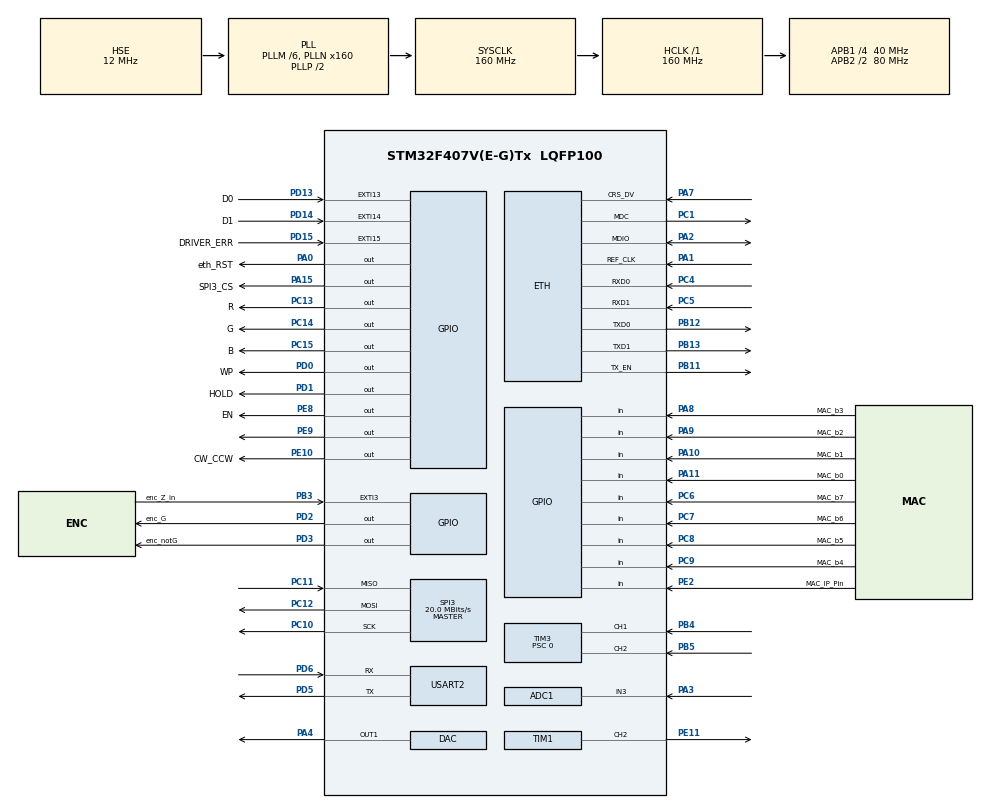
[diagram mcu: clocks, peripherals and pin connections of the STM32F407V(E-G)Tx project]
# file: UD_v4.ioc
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ADC1.Channel-0\#ChannelRegularConversion=ADC_CHANNEL_3
ADC1.NbrOfConversionFlag=1
ADC1.Rank-0\#ChannelRegularConversion=1
ADC1.SamplingTime-0\#ChannelRegularConversion=ADC_SAMPLETIME_3CYCLES
ADC1.master=1
Dma.Request0=USART2_TX
Dma.Request1=USART2_RX
Dma.USART2_RX.1.Direction=DMA_PERIPH_TO_MEMORY
Dma.USART2_RX.1.FIFOMode=DMA_FIFOMODE_DISABLE
Dma.USART2_RX.1.Instance=DMA1_Stream5
Dma.USART2_RX.1.MemDataAlignment=DMA_MDATAALIGN_BYTE
Dma.USART2_RX.1.MemInc=DMA_MINC_ENABLE
Dma.USART2_RX.1.Mode=DMA_CIRCULAR
Dma.USART2_RX.1.PeriphDataAlignment=DMA_PDATAALIGN_BYTE
Dma.USART2_RX.1.PeriphInc=DMA_PINC_DISABLE
Dma.USART2_RX.1.Priority=DMA_PRIORITY_MEDIUM
Dma.USART2_TX.0.Direction=DMA_MEMORY_TO_PERIPH
Dma.USART2_TX.0.FIFOMode=DMA_FIFOMODE_DISABLE
Dma.USART2_TX.0.Instance=DMA1_Stream6
Dma.USART2_TX.0.MemDataAlignment=DMA_MDATAALIGN_BYTE
Dma.USART2_TX.0.MemInc=DMA_MINC_ENABLE
Dma.USART2_TX.0.Mode=DMA_NORMAL
Dma.USART2_TX.0.PeriphDataAlignment=DMA_PDATAALIGN_BYTE
Dma.USART2_TX.0.PeriphInc=DMA_PINC_DISABLE
Dma.USART2_TX.0.Priority=DMA_PRIORITY_MEDIUM
ETH.MACAddr=44\:84\:23\:84\:44\:77
ETH.MediaInterface=HAL_ETH_RMII_MODE
ETH.PhyAddress=0
FREERTOS.Queues01=rxDataUART2,16,uint8_t,0,Dynamic,NULL,NULL
FREERTOS.Tasks01=mainTask,0,512,MainTask,Default,NULL,Dynamic,NULL,NULL;Motor_pool,0,256,motor_pool,Default,NULL,Dynamic,NULL,NULL;ledTask,0,512,LedTask,Default,NULL,Dynamic,NULL,NULL;callTask,0,256,CallTask,Default,NULL,Dynamic,NULL,NULL;uart_task,0,1024,uart_Task,Default,NULL,Dynamic,NULL,NULL;loggerTask,0,128,LoggerTask,Default,NULL,Dynamic,NULL,NULL
FREERTOS.configTOTAL_HEAP_SIZE=24576
FREERTOS.configUSE_NEWLIB_REENTRANT=1
LWIP.BSP.number=1
LWIP.LWIP_DHCP=0
LWIP.LWIP_DNS=1
LWIP.LWIP_NETIF_EXT_STATUS_CALLBACK=1
LWIP.LWIP_NETIF_STATUS_CALLBACK=1
LWIP.Version=v2.1.2_Cube
LWIP0.BSP.STBoard=false
LWIP0.BSP.api=BSP_COMPONENT_DRIVER
LWIP0.BSP.component=LAN8742
LWIP0.BSP.instance=LAN8742
LWIP0.BSP.name=Driver_PHY
LWIP0.BSP.semaphore=S_LAN8742
LWIP0.BSP.solution=LAN8742
Mcu.Family=STM32F4
Mcu.Name=STM32F407V(E-G)Tx
Mcu.Package=LQFP100
NVIC.DMA1_Stream5_IRQn=true\:5\:0\:false\:false\:true\:true\:false\:true\:true
NVIC.DMA1_Stream6_IRQn=true\:5\:0\:false\:false\:true\:true\:false\:true\:true
NVIC.ETH_IRQn=true\:5\:0\:false\:false\:true\:true\:false\:true\:true
NVIC.EXTI15_10_IRQn=true\:5\:0\:false\:false\:true\:true\:true\:true\:true
NVIC.EXTI3_IRQn=true\:5\:0\:false\:false\:true\:true\:true\:true\:true
NVIC.PriorityGroup=NVIC_PRIORITYGROUP_4
NVIC.TIM1_CC_IRQn=true\:5\:0\:false\:false\:true\:true\:true\:true\:true
NVIC.TIM1_UP_TIM10_IRQn=true\:5\:0\:false\:false\:true\:true\:true\:true\:true
NVIC.TIM3_IRQn=true\:5\:0\:false\:false\:true\:true\:true\:true\:true
NVIC.TIM4_IRQn=true\:5\:0\:false\:false\:true\:true\:true\:true\:true
NVIC.TIM6_DAC_IRQn=true\:5\:0\:false\:false\:true\:true\:true\:true\:true
NVIC.TIM7_IRQn=true\:15\:0\:false\:false\:true\:false\:false\:true\:true
NVIC.TimeBase=TIM7_IRQn
NVIC.TimeBaseIP=TIM7
NVIC.USART2_IRQn=true\:5\:0\:false\:false\:true\:true\:true\:true\:true
PA0-WKUP.GPIO_Label=eth_RST
PA0-WKUP.Signal=GPIO_Output
PA1.GPIO_PuPd=GPIO_NOPULL
PA1.Mode=RMII
PA1.Signal=ETH_REF_CLK
PA10.GPIO_Label=MAC_b1
PA10.GPIO_PuPd=GPIO_PULLDOWN
PA10.Signal=GPIO_Input
PA11.GPIO_Label=MAC_b0
PA11.GPIO_PuPd=GPIO_PULLDOWN
PA11.Signal=GPIO_Input
PA13.Mode=Serial_Wire
PA13.Signal=SYS_JTMS-SWDIO
PA14.Mode=Serial_Wire
PA14.Signal=SYS_JTCK-SWCLK
PA15.GPIO_Label=SPI3_CS
PA15.Signal=GPIO_Output
PA2.GPIO_PuPd=GPIO_NOPULL
PA2.Mode=RMII
PA2.Signal=ETH_MDIO
PA3.Signal=ADCx_IN3
PA4.Signal=COMP_DAC1_group
PA7.GPIO_PuPd=GPIO_NOPULL
PA7.Mode=RMII
PA7.Signal=ETH_CRS_DV
PA8.GPIO_Label=MAC_b3
PA8.GPIO_PuPd=GPIO_PULLDOWN
PA8.Signal=GPIO_Input
PA9.GPIO_Label=MAC_b2
PA9.GPIO_PuPd=GPIO_PULLDOWN
PA9.Signal=GPIO_Input
PB11.GPIO_PuPd=GPIO_NOPULL
PB11.Mode=RMII
PB11.Signal=ETH_TX_EN
PB12.GPIO_PuPd=GPIO_NOPULL
PB12.Mode=RMII
PB12.Signal=ETH_TXD0
PB13.GPIO_PuPd=GPIO_NOPULL
PB13.Mode=RMII
PB13.Signal=ETH_TXD1
PB3.GPIO_Label=enc_Z_in
PB3.Signal=GPXTI3
PB4.Signal=S_TIM3_CH1
PB5.Signal=S_TIM3_CH2
PC1.GPIO_PuPd=GPIO_NOPULL
PC1.Mode=RMII
PC1.Signal=ETH_MDC
PC10.Mode=Full_Duplex_Master
PC10.Signal=SPI3_SCK
PC11.Mode=Full_Duplex_Master
PC11.Signal=SPI3_MISO
PC12.Mode=Full_Duplex_Master
PC12.Signal=SPI3_MOSI
PC13-ANTI_TAMP.GPIO_Label=R
PC13-ANTI_TAMP.PinState=GPIO_PIN_SET
PC13-ANTI_TAMP.Signal=GPIO_Output
PC14-OSC32_IN.GPIO_Label=G
PC14-OSC32_IN.PinState=GPIO_PIN_SET
PC14-OSC32_IN.Signal=GPIO_Output
PC15-OSC32_OUT.GPIO_Label=B
PC15-OSC32_OUT.PinState=GPIO_PIN_SET
PC15-OSC32_OUT.Signal=GPIO_Output
PC4.GPIO_PuPd=GPIO_NOPULL
PC4.Mode=RMII
PC4.Signal=ETH_RXD0
PC5.GPIO_PuPd=GPIO_NOPULL
PC5.Mode=RMII
PC5.Signal=ETH_RXD1
PC6.GPIO_Label=MAC_b7
PC6.GPIO_PuPd=GPIO_PULLDOWN
PC6.Signal=GPIO_Input
PC7.GPIO_Label=MAC_b6
PC7.GPIO_PuPd=GPIO_PULLDOWN
PC7.Signal=GPIO_Input
PC8.GPIO_Label=MAC_b5
PC8.GPIO_PuPd=GPIO_PULLDOWN
PC8.Signal=GPIO_Input
PC9.GPIO_Label=MAC_b4
PC9.GPIO_PuPd=GPIO_PULLDOWN
PC9.Signal=GPIO_Input
PD0.GPIO_Label=WP
PD0.Signal=GPIO_Output
PD1.GPIO_Label=HOLD
PD1.Signal=GPIO_Output
PD13.GPIO_Label=D0
PD13.GPIO_ModeDefaultEXTI=GPIO_MODE_IT_RISING
PD13.GPIO_PuPd=GPIO_PULLDOWN
PD13.Signal=GPXTI13
PD14.GPIO_Label=D1
PD14.GPIO_ModeDefaultEXTI=GPIO_MODE_IT_RISING
PD14.GPIO_PuPd=GPIO_PULLDOWN
PD14.Signal=GPXTI14
PD15.GPIO_Label=DRIVER_ERR
PD15.GPIO_ModeDefaultEXTI=GPIO_MODE_IT_RISING
PD15.GPIO_PuPd=GPIO_PULLDOWN
PD15.Signal=GPXTI15
PD2.GPIO_Label=enc_G
PD2.GPIO_ModeDefaultOutputPP=GPIO_MODE_OUTPUT_PP
PD2.GPIO_PuPd=GPIO_NOPULL
PD2.GPIO_Speed=GPIO_SPEED_FREQ_LOW
PD2.PinState=GPIO_PIN_RESET
PD2.Signal=GPIO_Output
PD3.GPIO_Label=enc_notG
PD3.GPIO_ModeDefaultOutputPP=GPIO_MODE_OUTPUT_PP
PD3.GPIO_PuPd=GPIO_NOPULL
PD3.GPIO_Speed=GPIO_SPEED_FREQ_LOW
PD3.PinState=GPIO_PIN_RESET
PD3.Signal=GPIO_Output
PD5.Mode=Asynchronous
PD5.Signal=USART2_TX
PD6.Mode=Asynchronous
PD6.Signal=USART2_RX
PE10.GPIO_Label=CW_CCW
PE10.Signal=GPIO_Output
PE11.GPIO_Speed=GPIO_SPEED_FREQ_HIGH
PE11.Signal=S_TIM1_CH2
PE2.GPIO_Label=MAC_IP_Pin
PE2.GPIO_PuPd=GPIO_PULLDOWN
PE2.Signal=GPIO_Input
PE8.GPIO_Label=EN
PE8.Signal=GPIO_Output
PE9.Signal=GPIO_Output
PH0-OSC_IN.Mode=HSE-External-Oscillator
PH0-OSC_IN.Signal=RCC_OSC_IN
PH1-OSC_OUT.Mode=HSE-External-Oscillator
PH1-OSC_OUT.Signal=RCC_OSC_OUT
ProjectManager.HeapSize=0x4000
ProjectManager.StackSize=0x4000
ProjectManager.TargetToolchain=STM32CubeIDE
RCC.48MHZClocksFreq_Value=80000000
RCC.AHBFreq_Value=160000000
RCC.APB1CLKDivider=RCC_HCLK_DIV4
RCC.APB1Freq_Value=40000000
RCC.APB1TimFreq_Value=80000000
RCC.APB2CLKDivider=RCC_HCLK_DIV2
RCC.APB2Freq_Value=80000000
RCC.APB2TimFreq_Value=160000000
RCC.CortexFreq_Value=160000000
RCC.HCLKFreq_Value=160000000
RCC.HSE_VALUE=12000000
RCC.HSI_VALUE=16000000
RCC.LSE_VALUE=32768
RCC.PLLM=6
RCC.PLLN=160
RCC.PLLSourceVirtual=RCC_PLLSOURCE_HSE
RCC.SYSCLKFreq_VALUE=160000000
RCC.SYSCLKSource=RCC_SYSCLKSOURCE_PLLCLK
RCC.VCOOutputFreq_Value=320000000
SH.ADCx_IN3.0=ADC1_IN3,IN3
SH.COMP_DAC1_group.0=DAC_OUT1,DAC_OUT1
SH.S_TIM1_CH2.0=TIM1_CH2,PWM Generation2 CH2
SH.S_TIM3_CH1.0=TIM3_CH1,Encoder_Interface
SH.S_TIM3_CH2.0=TIM3_CH2,Encoder_Interface
SPI3.CalculateBaudRate=20.0 MBits/s
SPI3.Direction=SPI_DIRECTION_2LINES
SPI3.Mode=SPI_MODE_MASTER
SPI3.VirtualType=VM_MASTER
TIM1.AutoReloadPreload=TIM_AUTORELOAD_PRELOAD_ENABLE
TIM1.Channel-PWM\ Generation2\ CH2=TIM_CHANNEL_2
TIM1.Period=10000
TIM1.Prescaler=7
TIM1.TIM_MasterOutputTrigger=TIM_TRGO_UPDATE
TIM3.AutoReloadPreload=TIM_AUTORELOAD_PRELOAD_ENABLE
TIM3.Channel-Output\ Compare3\ No\ Output=TIM_CHANNEL_3
TIM3.Channel-Output\ Compare4\ No\ Output=TIM_CHANNEL_4
TIM3.ClockDivision=TIM_CLOCKDIVISION_DIV1
TIM3.CounterMode=TIM_COUNTERMODE_UP
TIM3.EncoderMode=TIM_ENCODERMODE_TI1
TIM3.IC1Filter=7
TIM3.IC1Prescaler=TIM_ICPSC_DIV1
TIM3.IC2Filter=7
TIM3.IC2Prescaler=TIM_ICPSC_DIV1
TIM3.OCMode_3=TIM_OCMODE_TIMING
TIM3.Period=65535
TIM3.Prescaler=0
TIM4.AutoReloadPreload=TIM_AUTORELOAD_PRELOAD_DISABLE
TIM4.Channel-Output\ Compare1\ No\ Output=TIM_CHANNEL_1
TIM4.Channel-Output\ Compare2\ No\ Output=TIM_CHANNEL_2
TIM4.Period=1000
TIM4.Prescaler=0
TIM6.AutoReloadPreload=TIM_AUTORELOAD_PRELOAD_ENABLE
TIM6.Period=100-1
TIM6.Prescaler=80-1
TIM6.TIM_MasterOutputTrigger=TIM_TRGO_RESET
USART2.VirtualMode=VM_ASYNC
VP_FREERTOS_VS_CMSIS_V1.Mode=CMSIS_V1
VP_LWIP_VS_Enabled.Mode=Enabled
VP_SYS_VS_tim7.Mode=TIM7
VP_TIM1_VS_ClockSourceINT.Mode=Internal
VP_TIM3_VS_no_output3.Mode=Output Compare3 No Output
VP_TIM3_VS_no_output4.Mode=Output Compare4 No Output
VP_TIM4_VS_ClockSourceITR.Mode=TriggerSource_ITR0
VP_TIM4_VS_ControllerModeClock.Mode=Clock Mode
VP_TIM4_VS_no_output1.Mode=Output Compare1 No Output
VP_TIM4_VS_no_output2.Mode=Output Compare2 No Output
VP_TIM6_VS_ClockSourceINT.Mode=Enable_Timer
VP_TIM6_VS_OPM.Mode=OPM_bit
board=custom

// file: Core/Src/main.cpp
/* USER CODE BEGIN Header */
/**
 ******************************************************************************
 * @file           : main.c
 * @brief          : Main program body
 ******************************************************************************
 * @attention
 *
 * Copyright (c) 2022 STMicroelectronics.
 * All rights reserved.
 *
 * This software is licensed under terms that can be found in the LICENSE file
 * in the root directory of this software component.
 * If no LICENSE file comes with this software, it is provided AS-IS.
 *
 ******************************************************************************
 */
/* USER CODE END Header */
#include "main.h"
#include "cmsis_os.h"
#include "adc.h"
#include "dac.h"
#include "dma.h"
#include "lwip.h"
#include "spi.h"
#include "tim.h"
#include "usart.h"
#include "gpio.h"

/* USER CODE BEGIN Includes */
#include "flash_spi.h"
#include "Delay_us_DWT.h"
#include "LED.h"
#include "stdio.h"
#include "externDriver.hpp"
/* USER CODE END Includes */

/* USER CODE BEGIN PV */
uint8_t ucHeap[ configTOTAL_HEAP_SIZE ] __attribute__((section(".ccmram"))) = {0};
uint32_t count_tic = 0; //для замеров времени выполнения кода
extern TIM_HandleTypeDef htim3;
//TIM_HandleTypeDef no;
settings_t settings = {dir::CW, 1, 1};

extern_driver *pMotor;
extern_driver ext_drive(&settings, &htim4, &htim1, TIM_CHANNEL_2, &htim6, &htim3);
led LED_IPadr;
led LED_error;
led LED_OSstart;

flash mem_spi;
pins_spi_t ChipSelect = {SPI3_CS_GPIO_Port, SPI3_CS_Pin};
pins_spi_t WriteProtect = {WP_GPIO_Port, WP_Pin};
pins_spi_t Hold = {HOLD_GPIO_Port, HOLD_Pin};
bool resetSettings = false;

// Глобальный экземпляр логгера
UartLogger_t logger;

// Локальный буфер для DMA передачи
char txBuffer[MAX_MESSAGE_SIZE];
// Пул сообщений и буфер для него
LogMessage_t messagePool[QUEUE_SIZE];
uint8_t messagePoolUsed[QUEUE_SIZE];
osMutexId poolMutexHandle;

uint8_t message_rx[message_RX_LENGTH];
uint8_t UART2_rx[UART2_RX_LENGTH];
uint16_t indx_message_rx = 0;
uint16_t indx_UART2_rx = 0;
uint16_t Size_message = 0;
uint16_t Start_index = 0;
extern osMessageQId rxDataUART2Handle;
/* USER CODE END PV */

void SystemClock_Config(void);
void MX_FREERTOS_Init(void);
/* USER CODE BEGIN PFP */
uint8_t ReadStraps();
void finishedBlink();
void timoutBlink();

#ifdef __GNUC__
#define PUTCHAR_PROTOTYPE extern "C" int __io_putchar(int ch)
#else
#define PUTCHAR_PROTOTYPE int fputc(int ch, FILE *f)
#endif

/* USER CODE END PFP */

int main(void)
{

  /* MCU Configuration--------------------------------------------------------*/

  /* Reset of all peripherals, Initializes the Flash interface and the Systick. */
  HAL_Init();

  /* Configure the system clock */
  SystemClock_Config();

  /* Initialize all configured peripherals */
  MX_GPIO_Init();
  MX_DMA_Init();
  MX_ADC1_Init();
  MX_SPI3_Init();
  MX_TIM1_Init();
  MX_TIM3_Init();
  MX_TIM6_Init();
  MX_DAC_Init();
  MX_TIM4_Init();
  MX_USART2_UART_Init();
  /* USER CODE BEGIN 2 */

	//DWT_Init();
	uint8_t endMAC = 0, IP = 100;

	HAL_GPIO_WritePin(eth_RST_GPIO_Port, eth_RST_Pin, GPIO_PIN_RESET);
	HAL_Delay(300);
	HAL_GPIO_WritePin(eth_RST_GPIO_Port, eth_RST_Pin, GPIO_PIN_SET);

	HAL_GPIO_WritePin(HOLD_GPIO_Port, HOLD_Pin, GPIO_PIN_SET);
	HAL_GPIO_WritePin(WP_GPIO_Port, WP_Pin, GPIO_PIN_SET);

	pMotor = &ext_drive;

	mem_spi.Init(&hspi3, 0, ChipSelect, WriteProtect, Hold, false);
	//HAL_Delay(100);
	mem_spi.Read(&settings);

	// если установлен джампер set
	// заходим в режим настройки
	bool StartSettings = false;
	/*
	for (int var = 0; var < 5; ++var) {

		if(HAL_GPIO_ReadPin(MAC_IP_Pin_GPIO_Port, MAC_IP_Pin_Pin)){
			StartSettings = true;
		}else{
			StartSettings = false;
			break;
		}

		HAL_Delay(30);
	}*/

	//режим настройки
	if(StartSettings){
		StartSettings = false;
		HAL_GPIO_WritePin(G_GPIO_Port, G_Pin, GPIO_PIN_RESET); // PC14 VD3

		endMAC = ReadStraps();
		HAL_Delay(300);
		HAL_GPIO_WritePin(R_GPIO_Port, R_Pin, GPIO_PIN_RESET); // PC13 VD2

		// ждем снятия джампера или таймаута
		int time;
		bool Settings;
		for (time = 0; time < 600; ++time) {

			if(HAL_GPIO_ReadPin(MAC_IP_Pin_GPIO_Port, MAC_IP_Pin_Pin)){
				Settings = true;
			}else{
				Settings = false;
				break;
			}

			HAL_Delay(100);
		}

		if(!Settings){ // if pin settings is 0
			IP = ReadStraps();
			HAL_Delay(300);
			HAL_GPIO_WritePin(B_GPIO_Port, B_Pin, GPIO_PIN_RESET); // PC15 VD4

			if((settings.version != 0) || (settings.version != 0xFF)){ // если считанные настройки не пусты то перезаписываем только изменения

				if(endMAC != 0xFF){
					settings.MAC[5] = endMAC;
				}

				if(IP != 0xFF){
					settings.saveIP.ip[3] = IP;
				}

				mem_spi.W25qxx_EraseSector(0);
				mem_spi.Write(settings);
				mem_spi.Read(&settings);

				finishedBlink();

				// and reset system
				HAL_Delay(500);
				NVIC_SystemReset();
			}else{
				resetSettings = true; // else reset all settings
			}
		}else{

			timoutBlink();
			// and reset system
			HAL_Delay(1000);
			NVIC_SystemReset();
		}

	}
	if((settings.version == 0) || (settings.version == 0xFF) || resetSettings || settings.version != CURENT_VERSION)
	{
		//STM_LOG("Start reset settings");
		resetSettings = false;

		settings.Direct = dir::CW;
		settings.mod_rotation = mode_rotation_t::step_inf;
		settings.res2 = motor_t::stepper_motor;
		settings.Speed = 100;
		settings.StartSpeed = 100;
		settings.Accel = 500;
		settings.Slowdown = 200; // чем больше число тем медленне ускорение
		//settings.SlowdownDistancePer = 10.0; //10%
		settings.res = 0;
		settings.TimeOut = 60000;
		settings.DHCPset = true;

		settings.saveIP.ip[0] = 192;
		settings.saveIP.ip[1] = 168;
		settings.saveIP.ip[2] = 1;
		settings.saveIP.ip[3] = IP;

		settings.saveIP.mask[0] = 255;
		settings.saveIP.mask[1] = 255;
		settings.saveIP.mask[2] = 255;
		settings.saveIP.mask[3] = 0;

		settings.saveIP.gateway[0] = 192;
		settings.saveIP.gateway[1] = 168;
		settings.saveIP.gateway[2] = 1;
		settings.saveIP.gateway[3] = 1;

		settings.MAC[0] = 0x44;
		settings.MAC[1] = 0x84;
		settings.MAC[2] = 0x23;
		settings.MAC[3] = 0x84;
		settings.MAC[4] = 0x44;
		settings.MAC[5] = endMAC;

		settings.sensors_map.CW_sensor = 0;
		settings.sensors_map.CCW_sensor = 0;
		settings.sensors_map.detected = false;

		settings.version = CURENT_VERSION;

		mem_spi.W25qxx_EraseSector(0);
		mem_spi.Write(settings);
		mem_spi.Read(&settings);
	}
	//HAL_Delay(500);
	mem_spi.SetUsedInOS(true); // switch to use in OS
  /* USER CODE END 2 */

  /* Call init function for freertos objects (in cmsis_os2.c) */
  MX_FREERTOS_Init();

  /* Start scheduler */
  osKernelStart();

  /* We should never get here as control is now taken by the scheduler */

  /* Infinite loop */
	while (1)
	{

	}
}

void SystemClock_Config(void)
{
  RCC_OscInitTypeDef RCC_OscInitStruct = {0};
  RCC_ClkInitTypeDef RCC_ClkInitStruct = {0};

  /** Configure the main internal regulator output voltage
  */
  __HAL_RCC_PWR_CLK_ENABLE();
  __HAL_PWR_VOLTAGESCALING_CONFIG(PWR_REGULATOR_VOLTAGE_SCALE1);

  /** Initializes the RCC Oscillators according to the specified parameters
  * in the RCC_OscInitTypeDef structure.
  */
  RCC_OscInitStruct.OscillatorType = RCC_OSCILLATORTYPE_HSE;
  RCC_OscInitStruct.HSEState = RCC_HSE_ON;
  RCC_OscInitStruct.PLL.PLLState = RCC_PLL_ON;
  RCC_OscInitStruct.PLL.PLLSource = RCC_PLLSOURCE_HSE;
  RCC_OscInitStruct.PLL.PLLM = 6;
  RCC_OscInitStruct.PLL.PLLN = 160;
  RCC_OscInitStruct.PLL.PLLP = RCC_PLLP_DIV2;
  RCC_OscInitStruct.PLL.PLLQ = 4;
  if (HAL_RCC_OscConfig(&RCC_OscInitStruct) != HAL_OK)
  {
    Error_Handler();
  }

  /** Initializes the CPU, AHB and APB buses clocks
  */
  RCC_ClkInitStruct.ClockType = RCC_CLOCKTYPE_HCLK|RCC_CLOCKTYPE_SYSCLK
                              |RCC_CLOCKTYPE_PCLK1|RCC_CLOCKTYPE_PCLK2;
  RCC_ClkInitStruct.SYSCLKSource = RCC_SYSCLKSOURCE_PLLCLK;
  RCC_ClkInitStruct.AHBCLKDivider = RCC_SYSCLK_DIV1;
  RCC_ClkInitStruct.APB1CLKDivider = RCC_HCLK_DIV4;
  RCC_ClkInitStruct.APB2CLKDivider = RCC_HCLK_DIV2;

  if (HAL_RCC_ClockConfig(&RCC_ClkInitStruct, FLASH_LATENCY_5) != HAL_OK)
  {
    Error_Handler();
  }
}

/* USER CODE BEGIN 4 */
PUTCHAR_PROTOTYPE
{
  HAL_UART_Transmit(&huart2, (uint8_t *)&ch, 1, HAL_MAX_DELAY);
  return ch;
}

uint8_t ReadStraps(){
	uint8_t tempStraps;

	//Bit0
	if (HAL_GPIO_ReadPin(MAC_b0_GPIO_Port, MAC_b0_Pin)) SET_BIT(tempStraps,1<<0);
	else CLEAR_BIT(tempStraps,1<<0);
	//Bit1
	if (HAL_GPIO_ReadPin(MAC_b1_GPIO_Port, MAC_b1_Pin)) SET_BIT(tempStraps,1<<1);
	else CLEAR_BIT(tempStraps,1<<1);
	//Bit2
	if (HAL_GPIO_ReadPin(MAC_b2_GPIO_Port, MAC_b2_Pin)) SET_BIT(tempStraps,1<<2);
	else CLEAR_BIT(tempStraps,1<<2);
	//Bit3
	if (HAL_GPIO_ReadPin(MAC_b3_GPIO_Port, MAC_b3_Pin)) SET_BIT(tempStraps,1<<3);
	else CLEAR_BIT(tempStraps,1<<3);
	//Bit4
	if (HAL_GPIO_ReadPin(MAC_b4_GPIO_Port, MAC_b4_Pin)) SET_BIT(tempStraps,1<<4);
	else CLEAR_BIT(tempStraps,1<<4);
	//Bit5
	if (HAL_GPIO_ReadPin(MAC_b5_GPIO_Port, MAC_b5_Pin)) SET_BIT(tempStraps,1<<5);
	else CLEAR_BIT(tempStraps,1<<5);
	//Bit6
	if (HAL_GPIO_ReadPin(MAC_b6_GPIO_Port, MAC_b6_Pin)) SET_BIT(tempStraps,1<<6);
	else CLEAR_BIT(tempStraps,1<<6);
	//Bit7
	if (HAL_GPIO_ReadPin(MAC_b7_GPIO_Port, MAC_b7_Pin)) SET_BIT(tempStraps,1<<7);
	else CLEAR_BIT(tempStraps,1<<7);

	return tempStraps;
}

void finishedBlink(){
#define  timeBetween 300

	// finished blink
	HAL_GPIO_WritePin(B_GPIO_Port, B_Pin, GPIO_PIN_SET); // PC15 VD4
	HAL_GPIO_WritePin(R_GPIO_Port, R_Pin, GPIO_PIN_SET); // PC13 VD2
	HAL_GPIO_WritePin(G_GPIO_Port, G_Pin, GPIO_PIN_SET); // PC14 VD3

	for (int var = 0; var < 5; ++var) {
		HAL_GPIO_WritePin(G_GPIO_Port, G_Pin, GPIO_PIN_RESET); // PC14 VD3
		HAL_Delay(timeBetween);
		HAL_GPIO_WritePin(G_GPIO_Port, G_Pin, GPIO_PIN_SET); // PC14 VD3
		HAL_GPIO_WritePin(R_GPIO_Port, R_Pin, GPIO_PIN_RESET); // PC13 VD2
		HAL_Delay(timeBetween);
		HAL_GPIO_WritePin(R_GPIO_Port, R_Pin, GPIO_PIN_SET); // PC13 VD2
		HAL_GPIO_WritePin(B_GPIO_Port, B_Pin, GPIO_PIN_RESET); // PC15 VD4
		HAL_Delay(timeBetween);
		HAL_GPIO_WritePin(B_GPIO_Port, B_Pin, GPIO_PIN_SET); // PC15 VD4

	}

	HAL_GPIO_WritePin(B_GPIO_Port, B_Pin, GPIO_PIN_SET); // PC15 VD4
	HAL_GPIO_WritePin(R_GPIO_Port, R_Pin, GPIO_PIN_SET); // PC13 VD2
	HAL_GPIO_WritePin(G_GPIO_Port, G_Pin, GPIO_PIN_SET); // PC14 VD3
}

void timoutBlink(){
	// timOut plink  all
	HAL_GPIO_WritePin(B_GPIO_Port, B_Pin, GPIO_PIN_RESET); // PC15 VD4
	HAL_GPIO_WritePin(R_GPIO_Port, R_Pin, GPIO_PIN_RESET); // PC13 VD2
	HAL_GPIO_WritePin(G_GPIO_Port, G_Pin, GPIO_PIN_RESET); // PC14 VD3
	for (int var = 0; var < 5; ++var) {
		HAL_GPIO_TogglePin(B_GPIO_Port, B_Pin); // PC15 VD4
		HAL_GPIO_TogglePin(R_GPIO_Port, R_Pin); // PC13 VD2
		HAL_GPIO_TogglePin(G_GPIO_Port, G_Pin); // PC14 VD3
		HAL_Delay(800);
	}
}

// Проверка вызова из прерывания
static uint8_t isInInterrupt(void) {
    return (SCB->ICSR & SCB_ICSR_VECTACTIVE_Msk) != 0;
}

// Получить свободный слот из пула
static int getFreeMessageSlot(void) {
    for(int i = 0; i < QUEUE_SIZE; i++) {
        if(messagePoolUsed[i] == 0) {
            messagePoolUsed[i] = 1;
            return i;
        }
    }
    return -1;
}

// инициализация логгера
void Logger_Init(UART_HandleTypeDef* huart) {
    // Сохраняем указатель на UART
    logger.huart = huart;
    logger.isTransmitting = 0;
    logger.txBuffer = txBuffer;
    logger.started = 1;

    // Очищаем пул сообщений
    memset(messagePoolUsed, 0, sizeof(messagePoolUsed));

    // Создаем мьютекс для пула
    osMutexDef(poolMutex);
    poolMutexHandle = osMutexCreate(osMutex(poolMutex));

    // Создаем очередь сообщений (теперь храним только индексы)
    osMessageQDef(logQueue, QUEUE_SIZE, uint32_t);
    logger.messageQueue = osMessageCreate(osMessageQ(logQueue), NULL);
}

// Обработка сообщений и отправка через UART
void Logger_Process(void) {
    if (!logger.isTransmitting) {
        osEvent event = osMessageGet(logger.messageQueue, 0); // Неблокирующее получение

        if (event.status == osEventMessage) {
            uint32_t msgIndex = event.value.v;
            if(msgIndex < QUEUE_SIZE) {
                LogMessage_t* msg = &messagePool[msgIndex];

                // Проверка валидности сообщения
                if(msg->length > 0 && msg->length < MAX_MESSAGE_SIZE) {
                    // Копируем сообщение в буфер отправки
                    memcpy(logger.txBuffer, msg->data, msg->length);

                    // Освобождаем слот в пуле
                    uint32_t primask_bit;
                    primask_bit = __get_PRIMASK();
                    __disable_irq();
                    messagePoolUsed[msgIndex] = 0;
                    if (!primask_bit) {
                        __enable_irq();
                    }

                    // Начинаем передачу
                    logger.isTransmitting = 1;

                    // Проверяем состояние DMA перед отправкой
                    if(huart2.hdmatx->State == HAL_DMA_STATE_READY) {
                        HAL_StatusTypeDef status = HAL_UART_Transmit_DMA(logger.huart, (uint8_t*)logger.txBuffer, msg->length);
                        if(status != HAL_OK) {
                            // Если DMA не готов, используем обычную передачу
                            HAL_UART_Transmit(logger.huart, (uint8_t*)logger.txBuffer, msg->length, 100);
                            logger.isTransmitting = 0;
                        }
                    } else {
                        // DMA занят, используем обычную передачу
                        HAL_UART_Transmit(logger.huart, (uint8_t*)logger.txBuffer, msg->length, 100);
                        logger.isTransmitting = 0;
                    }
                } else {
                    // Некорректный размер сообщения - просто освобождаем слот
                    uint32_t primask_bit;
                    primask_bit = __get_PRIMASK();
                    __disable_irq();
                    messagePoolUsed[msgIndex] = 0;
                    if (!primask_bit) {
                        __enable_irq();
                    }
                }
            }
        }
    }
}

// Callback завершения передачи
void Logger_TxCpltCallback(void) {
    logger.isTransmitting = 0;
}

// Функция логирования (может вызываться из прерывания или потока)
void Logger_Log(const char* format, ...) {
    if(!logger.started) return;
    if (!format) return;

    int slot = -1;

    // Безопасное получение слота с учетом контекста (прерывание или нет)
    if(isInInterrupt()) {
        // В прерывании - атомарно захватываем слот
        // Используем атомарный подход без мьютекса (мьютексы недопустимы в прерываниях)
        for(int i = 0; i < QUEUE_SIZE; i++) {
            if(messagePoolUsed[i] == 0) {
                // Попытка атомарно захватить слот
                uint32_t primask_bit;
                primask_bit = __get_PRIMASK();
                __disable_irq();
                if(messagePoolUsed[i] == 0) {
                    messagePoolUsed[i] = 1;
                    slot = i;
                }
                if (!primask_bit) {
                    __enable_irq();
                }
                if(slot >= 0) break;
            }
        }
    } else {
        // В обычном коде используем мьютекс
        osMutexWait(poolMutexHandle, osWaitForever);
        slot = getFreeMessageSlot();
        osMutexRelease(poolMutexHandle);
    }

    if(slot < 0) return; // Нет свободных слотов

    LogMessage_t* msg = &messagePool[slot];
    va_list args;

    va_start(args, format);
    int length = vsnprintf(msg->data, MAX_MESSAGE_SIZE - 2, format, args);
    va_end(args);

    if (length <= 0) {
        // Атомарное освобождение слота
        uint32_t primask_bit;
        primask_bit = __get_PRIMASK();
        __disable_irq();
        messagePoolUsed[slot] = 0;
        if (!primask_bit) {
            __enable_irq();
        }
        return;
    }

    // Добавляем '\r' и нулевой символ
    msg->data[length] = '\r';
    msg->data[length + 1] = 0;
    msg->length = length + 1;

    // Помещаем индекс сообщения в очередь
    osStatus status = osMessagePut(logger.messageQueue, slot, 0);
    if(status != osOK) {
        // Атомарное освобождение слота при ошибке
        uint32_t primask_bit;
        primask_bit = __get_PRIMASK();
        __disable_irq();
        messagePoolUsed[slot] = 0;
        if (!primask_bit) {
            __enable_irq();
        }
    }
}

// Обработчик прерывания DMA UART
void HAL_UART_TxCpltCallback(UART_HandleTypeDef *huart) {
    if (huart == logger.huart) {
        Logger_TxCpltCallback();
    }
}

void HAL_TIM_OC_DelayElapsedCallback(TIM_HandleTypeDef *htim){
    if(htim->Instance == TIM3)
    {
    	switch (settings.mod_rotation) {
    		case step_by_meter_enc_intermediate:
    		case calibration_enc:
    		{
				switch(htim->Channel)
						{
							case HAL_TIM_ACTIVE_CHANNEL_1:
								// канал торможения
								//pMotor->StepsAllHandler(__HAL_TIM_GET_COUNTER(htim));
								break;

							case HAL_TIM_ACTIVE_CHANNEL_2:
								//канал остановки

								// Прерывание от канала 2
								break;

		                    case HAL_TIM_ACTIVE_CHANNEL_3:
		                        // Событие канала 3 - начало торможения
		                        pMotor->handleEncoderCompare(TIM_CHANNEL_3);
		                        break;

		                    case HAL_TIM_ACTIVE_CHANNEL_4:
		                        // Событие канала 4 - завершение части или остановка
		                        pMotor->handleEncoderCompare(TIM_CHANNEL_4);
		                        break;

							case HAL_TIM_ACTIVE_CHANNEL_CLEARED:
								// Нет активного канала
								break;

							default:
								// Неизвестный канал
								break;
						}
    			break;
    		}
    		case step_by_meter_timer_intermediate:
    		//case step_by_meter_timer_limit:
    		case calibration_timer:
    		case bldc_limit:
    		case step_inf:
    		case bldc_inf:
    		{
    			return;
    			break;
    		}
    		default:
    		{
    			break;
    		}
    	}

    }

    if(htim->Instance == TIM4)
    {
    	switch (settings.mod_rotation) {
    		case step_by_meter_timer_intermediate:
    		//case step_by_meter_timer_limit:
    		case calibration_timer:
    		{
    	        switch(htim->Channel)
    	                {
    	                    case HAL_TIM_ACTIVE_CHANNEL_1:
    	                        // Вызываем обработчик для канала 1 (начало торможения)
    	                        pMotor->handleTimerCompare(TIM_CHANNEL_1);
    	                        break;

    	                    case HAL_TIM_ACTIVE_CHANNEL_2:
    	                        // Вызываем обработчик для канала 2 (остановка или конец части)
    	                        pMotor->handleTimerCompare(TIM_CHANNEL_2);
    	                        break;

    	                    case HAL_TIM_ACTIVE_CHANNEL_3:
    	                        // Прерывание от канала 3
    	                        break;

    	                    case HAL_TIM_ACTIVE_CHANNEL_4:
    	                        // Прерывание от канала 4
    	                        break;

    	                    case HAL_TIM_ACTIVE_CHANNEL_CLEARED:
    	                        // Нет активного канала
    	                        break;

    	                    default:
    	                        // Неизвестный канал
    	                        break;
    	                }
    			break;
    		}
    		case step_by_meter_enc_intermediate:
    		//case step_by_meter_enc_limit:
    		case calibration_enc:
    		case bldc_limit:
    		case step_inf:
    		case bldc_inf:
    		{
    			return;
    			break;
    		}
    		default:
    		{
    			break;
    		}
    	}
    }
    // Обработка прерывания таймера генерации шагов
    if (htim->Instance == TIM1 && pMotor != nullptr) {
      pMotor->handleTimerInterrupt();
    }

}

void HAL_GPIO_EXTI_Callback(uint16_t GPIO_Pin) {
	if ((GPIO_Pin == D0_Pin) || (GPIO_Pin == D1_Pin)) {
		pMotor->SensHandler(GPIO_Pin);
		//pMotor->StartDebounceTimer(GPIO_Pin);

	}

	if (GPIO_Pin == enc_Z_in_Pin) {
		//pMotor->SensHandler();
	}
}

void HAL_UARTEx_RxEventCallback(UART_HandleTypeDef *huart, uint16_t Size) {
    if (huart->Instance == USART2) {
        // Проверяем, что DMA_TC флаг установлен
        while (__HAL_UART_GET_FLAG(huart, UART_FLAG_TC) != SET) {
            // Ожидаем завершения передачи
        };

        uint16_t Size_Data = Size - Start_index;

        HAL_UART_RxEventTypeTypeDef rxEventType;
        rxEventType = HAL_UARTEx_GetRxEventType(huart);
        switch (rxEventType) {
        case HAL_UART_RXEVENT_IDLE:
            // Копируем данные
            memcpy(&message_rx[indx_message_rx], &UART2_rx[Start_index], Size_Data);

            if ((message_rx[indx_message_rx + Size_Data - 1] == '\r') ||
                (message_rx[indx_message_rx + Size_Data - 1] == 0)) {
                message_rx[indx_message_rx + Size_Data] = 0;

                // Отправляем сообщение в очередь с таймаутом 0
                osStatus status = osMessagePut(rxDataUART2Handle, (uint32_t)indx_message_rx, 0);
                if (status != osOK) {
                    // Если очередь заполнена, очищаем ее
                    osEvent evt;
                    do {
                        evt = osMessageGet(rxDataUART2Handle, 0);
                    } while(evt.status == osEventMessage);

                    // Пытаемся отправить снова
                    status = osMessagePut(rxDataUART2Handle, (uint32_t)indx_message_rx, 0);
                }

                Size_message = 0;
                indx_message_rx = 0;
            } else {
                indx_message_rx += Size_Data;
            }

            Start_index = Size;
            break;

        case HAL_UART_RXEVENT_TC:
            // Копируем в начало буфера
            memcpy(&message_rx[indx_message_rx], &UART2_rx[Start_index], Size_Data);
            indx_message_rx += Size_Data;
            Start_index = 0;
            break;

        default:
            STM_LOG("Неизвестный тип события UART: %d", rxEventType);
            break;
        }

        // Перезапускаем DMA для приема
        HAL_UARTEx_ReceiveToIdle_DMA(huart, UART2_rx, UART2_RX_LENGTH);
        __HAL_DMA_DISABLE_IT(&hdma_usart2_rx, DMA_IT_HT);
    }
}

/* USER CODE END 4 */

void HAL_TIM_PeriodElapsedCallback(TIM_HandleTypeDef *htim)
{
  if (htim->Instance == TIM7) {
    HAL_IncTick();
  }
  /* USER CODE BEGIN Callback 1 */

  // Обработка прерывания таймера генерации шагов
  if (htim->Instance == TIM1 && pMotor != nullptr) {
    //pMotor->handleTimerInterrupt();
  }

  if (htim->Instance == TIM4) {
    //HAL_IncTick();
	//pMotor->StepsAllHandler(__HAL_TIM_GET_COUNTER(htim));
	// что то пошло не так останов и сброс счетчиков
  }

  if (htim->Instance == TIM6)
  {
      pMotor->HandleDebounceTimeout();
  }
  /* USER CODE END Callback 1 */
}

void Error_Handler(void)
{
  /* USER CODE BEGIN Error_Handler_Debug */
	/* User can add his own implementation to report the HAL error return state */
	STM_LOG("Error handler");
	__disable_irq();
	while (1)
	{
	}
  /* USER CODE END Error_Handler_Debug */
}
